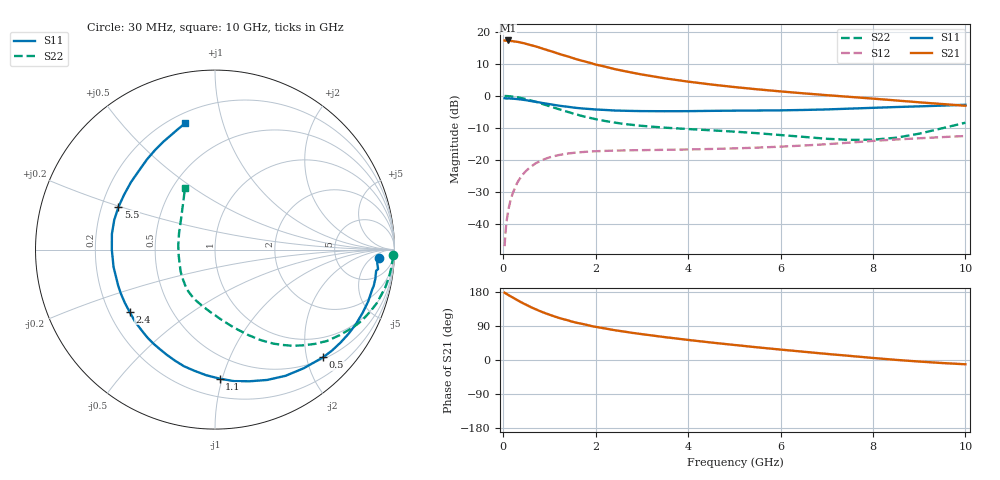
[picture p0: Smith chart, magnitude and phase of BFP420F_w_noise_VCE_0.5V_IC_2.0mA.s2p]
! Infineon Technologies  Discrete & RF Semiconductors
! BFP420F
! VCE =  0.5 V,  IC =  2.0 mA
! Common Emitter S-Parameters:  Sep 2011
# GHz  S  MA  R  50
!  f  S11  S21  S12  S22
! GHz  MAG  ANG  MAG  ANG  MAG  ANG  MAG  ANG
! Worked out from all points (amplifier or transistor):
!   54 points, 30 MHz to 10 GHz, reference 50 ohm
!   highest |S21| = 17.2 dB at 100 MHz (marker M1)
!   |S21| within 3 dB of that: start of sweep to 953 MHz
!   unconditionally stable (mu >= 1): 3.221 GHz to end of sweep
!   at 120 MHz: K = 0.03, MSG = 26.1 dB, |S12| = -35.0 dB
!   at 1.3 GHz: K = 0.36, MSG = 15.5 dB, |S12| = -18.3 dB
!   at 10 GHz: K = 1.53, MAG = 0.4 dB, |S12| = -12.6 dB
!   lowest NFmin = 0.81 dB at 450 MHz
!   S11 on the Smith chart (normalised r, x): 30 MHz: 17, -10; 500 MHz: 0.54, -2.32; 1.1 GHz: 0.33, -0.98; 2.4 GHz: 0.28, -0.30; 5.5 GHz: 0.27, +0.20; 10 GHz: 0.26, +0.76
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0.03  0.916 -2.8  7.269 177.5  0.0045 89.8  0.9912 -1.9
0.05  0.9069 -4.6  7.23 175.6  0.0074 85.7  0.9908 -3.2
0.06  0.9113 -5.9  7.249 175.5  0.009 87.6  0.9903 -3.8
0.1  0.9065 -9.3  7.286 172.3  0.0148 84.7  0.9866 -6.3
0.3  0.8883 -27.8  6.947 158.3  0.0434 74.3  0.9486 -18.5
0.4  0.8704 -36.5  6.697 151.6  0.0561 69.3  0.9179 -24.1
0.5  0.8504 -44.8  6.436 145.6  0.0679 64.6  0.8827 -29.4
0.6  0.8258 -53.1  6.149 139.4  0.0784 60.0  0.843 -34.4
0.8  0.7822 -68.2  5.596 128.7  0.096 52.1  0.7648 -43.4
1.1  0.7193 -88.0  4.784 115.3  0.1142 42.4  0.6509 -54.7
1.2  0.7013 -94.1  4.516 111.3  0.1186 39.8  0.6182 -58.0
1.5  0.6574 -109.9  3.886 100.9  0.128 33.3  0.5318 -66.4
1.7  0.634 -119.0  3.524 95.5  0.132 29.9  0.4844 -71.5
2  0.61 -131.1  3.065 87.5  0.1362 25.9  0.4312 -78.5
2.4  0.5885 -144.0  2.618 78.9  0.1394 22.1  0.3825 -86.6
2.8  0.5792 -154.6  2.285 71.5  0.1413 19.6  0.3511 -93.7
3.5  0.5735 -170.3  1.868 60.3  0.1433 17.4  0.3176 -104.2
4.5  0.581 171.4  1.498 46.1  0.1478 16.4  0.2887 -116.7
5.5  0.5881 156.2  1.259 33.4  0.1551 16.8  0.2604 -129.4
7  0.6113 133.6  1.021 16.1  0.1753 17.6  0.2131 -157.4
8.5  0.6666 115.5  0.844 0.3  0.2078 14.6  0.2212 154.8
10  0.7232 103.3  0.698 -11.3  0.2354 9.5  0.3794 116.2
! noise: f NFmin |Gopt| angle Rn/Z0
0.45  0.81  0.49  17  0.26
0.9  0.87  0.48  36  0.26
1.9  1.18  0.37  84  0.2
2.4  1.31  0.38  97  0.2
3.5  1.73  0.39  136  0.18
